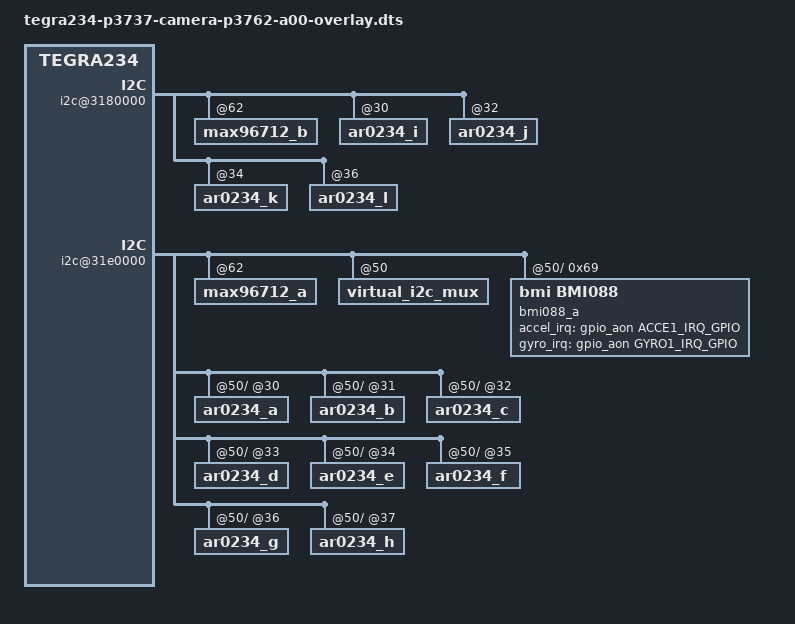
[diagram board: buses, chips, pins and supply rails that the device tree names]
// SPDX-License-Identifier: GPL-2.0-only
// SPDX-FileCopyrightText: Copyright (c) 2023-2025, NVIDIA CORPORATION & AFFILIATES. All rights reserved.

/dts-v1/;
/plugin/;

#include "tegra234-p3737-camera-p3762-a00.dtsi"
#include "dt-bindings/gpio/tegra234-gpio.h"
#include "dt-bindings/clock/tegra234-clock.h"
#include <dt-bindings/tegra234-p3737-0000+p3701-0000.h>

#define CAM0_RST_L      TEGRA234_MAIN_GPIO(H, 3)
#define CAM0_PWDN       TEGRA234_MAIN_GPIO(H, 6)
#define CAM1_RST_L      TEGRA234_MAIN_GPIO(AC, 1)
#define CAM1_PWDN       TEGRA234_MAIN_GPIO(AC, 0)
#define PWR_EN      TEGRA234_MAIN_GPIO(AC, 7)
#define GYRO1_IRQ_GPIO  TEGRA234_AON_GPIO(CC, 1)
#define ACCE1_IRQ_GPIO  TEGRA234_AON_GPIO(CC, 0)

/* camera control gpio definitions */
/ {
	overlay-name = "Jetson Camera Hawk-Owl p3762 module";
	jetson-header-name = "Jetson AGX CSI Connector";
	compatible = JETSON_COMPATIBLE;

	fragment-camera-hawk-owl@0 {
		target-path = "/";
		__overlay__ {
			bus@0 {
				i2c@3180000 {
					max96712_b@62 {
						status = "okay";
					};
					ar0234_i@30 {
						status = "okay";
					};
					ar0234_j@32 {
						status = "okay";
					};
					ar0234_k@34 {
						status = "okay";
					};
					ar0234_l@36 {
						status = "okay";
					};
				};
				i2c@31e0000 {
					max96712_a@62 {
						status = "okay";
					};
					virtual_i2c_mux@50 {
						status = "okay";
						i2c@0 {
							bmi088_a@69 {
								compatible = "bmi,bmi088";
								reg = <0x69>;
								accel_i2c_addr = <0x19>;
								accel_irq-gpios = <&gpio_aon ACCE1_IRQ_GPIO GPIO_ACTIVE_HIGH>;
								gyro_irq-gpios = <&gpio_aon GYRO1_IRQ_GPIO GPIO_ACTIVE_HIGH>;
								accel_matrix = [01 00 00 00 01 00 00 00 01];
								gyro_matrix = [01 00 00 00 01 00 00 00 01];
								gyro_reg_0x18 = <0x81>;
								timestamps = <&hte_aon ACCE1_IRQ_GPIO>, <&hte_aon GYRO1_IRQ_GPIO>;
								timestamp-names = "accelerometer", "gyroscope";
								status = "okay";
							};
							ar0234_a@30 {
								status = "okay";
							};
							ar0234_b@31 {
								status = "okay";
							};
						};
						i2c@1 {
							ar0234_c@32 {
								status = "okay";
							};
							ar0234_d@33 {
								status = "okay";
							};
						};
						i2c@2 {
							ar0234_e@34 {
								status = "okay";
							};
							ar0234_f@35 {
								status = "okay";
							};
						};
						i2c@3 {
							ar0234_g@36 {
								status = "okay";
							};
							ar0234_h@37 {
								status = "okay";
							};
						};
					};
				};
			};
		};
	};
};
